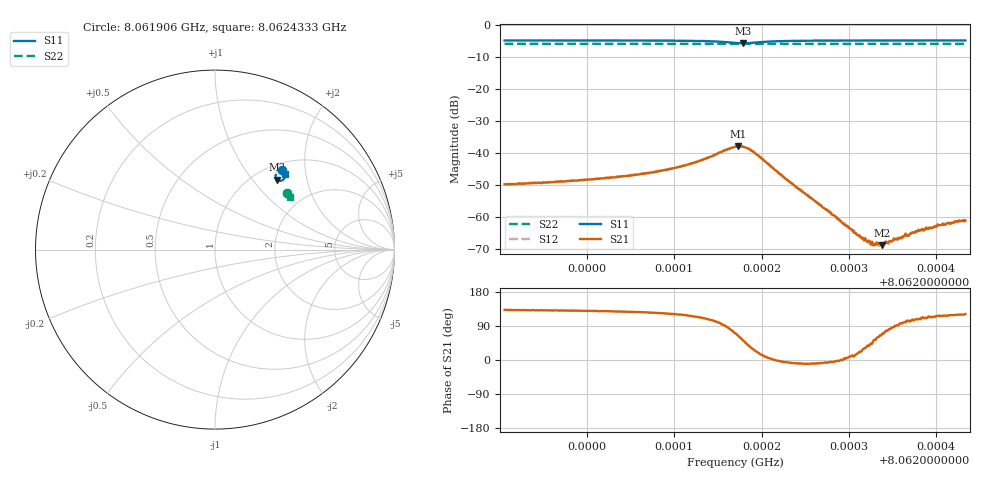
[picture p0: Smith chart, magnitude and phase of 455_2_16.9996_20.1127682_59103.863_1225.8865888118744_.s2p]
#  HZ  S  RI  R  50.00
! Rohde & Schwarz Vector Network Analyzer
! Rohde-Schwarz,ZNB20-2Port,1311601062101988,3.16
! Created: UTC 3/20/2024, 11:12:26 PM
! freq[Hz]  re:S11  im:S11  re:S21  im:S21  re:S12  im:S12  re:S22  im:S22
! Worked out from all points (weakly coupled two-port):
!   401 points, 8.061906 GHz to 8.0624333 GHz, reference 50 ohm
!   highest |S21| = -37.89 dB at 8.0621736 GHz (marker M1); lowest = -68.9 dB at 8.0623384 GHz (marker M2)
!   lowest |S11| = -5.7 dB at 8.0621789 GHz (marker M3), VSWR 3.18, Z = 62.8 + j67.3 ohm
!   |S11| at or under -10 dB: nowhere
!   |S22| runs from -5.9 to -5.8 dB; largest |S21 - S12| = 0.00088
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8.06190599e9  0.3709 0.4408  -0.00217 0.00238  -0.00203 0.00254  0.4002 0.3167
8.06199432e9  0.3776 0.4346  -0.00241 0.00287  -0.00229 0.00306  0.4035 0.3123
8.06203519e9  0.3808 0.431  -0.00256 0.00331  -0.00244 0.00351  0.4051 0.3102
8.06208265e9  0.3855 0.4245  -0.0029 0.00432  -0.00268 0.00453  0.4068 0.3077
8.0621222e9  0.3891 0.4137  -0.00299 0.00628  -0.00264 0.00655  0.4082 0.3052
8.06216966e9  0.3633 0.3834  0.00414 0.0118  0.00472 0.0116  0.4082 0.3021
8.06217362e9  0.3556 0.3846  0.00575 0.0114  0.00644 0.0111  0.4079 0.302
8.06217889e9  0.3462 0.3898  0.0077 0.00976  0.00835 0.00947  0.4078 0.3021
8.06218548e9  0.3387 0.4011  0.00916 0.00713  0.00951 0.00665  0.4078 0.3024
8.06219339e9  0.3379 0.4151  0.00894 0.00387  0.00936 0.0033  0.4081 0.3027
8.06222767e9  0.3602 0.4353  0.00391 -0.000387  0.00396 -0.000615  0.4106 0.3016
8.06225799e9  0.371 0.4346  0.00188 -0.000323  0.00189 -0.000441  0.4122 0.3
8.06227777e9  0.3754 0.4333  0.00117 -0.000114  0.0012 -0.000214  0.4131 0.2989
8.06230545e9  0.3796 0.4313  0.000562 9.06e-05  0.000607 0.00011  0.414 0.2974
8.06231204e9  0.3806 0.4307  0.000476 0.00019  0.000468 0.000166  0.4143 0.2971
8.06232786e9  0.3823 0.4297  0.000229 0.000275  0.000277 0.000274  0.4148 0.2963
8.06233841e9  0.3836 0.4289  0.000121 0.000336  0.000153 0.00035  0.4154 0.2957
8.06234632e9  0.3842 0.4282  5.66e-05 0.00041  9.91e-05 0.000387  0.4156 0.2952
8.0623806e9  0.3874 0.4261  -0.000197 0.000574  -0.000191 0.000577  0.417 0.2934
8.06238323e9  0.3875 0.426  -0.000236 0.000581  -0.00018 0.000621  0.4169 0.2932
8.06240433e9  0.3892 0.4247  -0.000321 0.000666  -0.000287 0.000692  0.4177 0.2922
8.06243333e9  0.3914 0.4229  -0.000457 0.00075  -0.000427 0.000802  0.4187 0.2908
